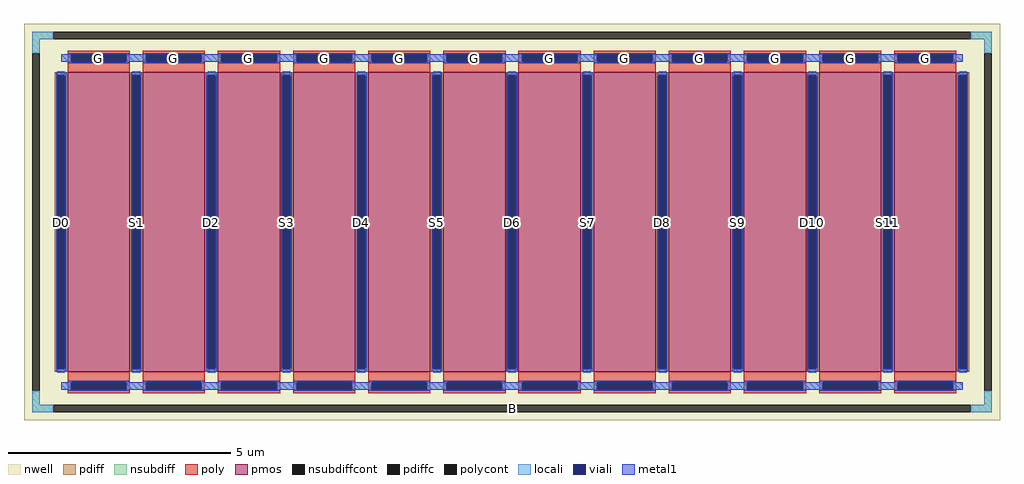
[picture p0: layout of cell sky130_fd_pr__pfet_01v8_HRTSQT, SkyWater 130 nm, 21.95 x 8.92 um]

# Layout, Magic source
magic
tech sky130A
magscale 1 2
<< nwell >>
rect -2195 -892 2195 892
<< pmos >>
rect -1999 -673 -1719 673
rect -1661 -673 -1381 673
rect -1323 -673 -1043 673
rect -985 -673 -705 673
rect -647 -673 -367 673
rect -309 -673 -29 673
rect 29 -673 309 673
rect 367 -673 647 673
rect 705 -673 985 673
rect 1043 -673 1323 673
rect 1381 -673 1661 673
rect 1719 -673 1999 673
<< pdiff >>
rect -2057 661 -1999 673
rect -2057 -661 -2045 661
rect -2011 -661 -1999 661
rect -2057 -673 -1999 -661
rect -1719 661 -1661 673
rect -1719 -661 -1707 661
rect -1673 -661 -1661 661
rect -1719 -673 -1661 -661
rect -1381 661 -1323 673
rect -1381 -661 -1369 661
rect -1335 -661 -1323 661
rect -1381 -673 -1323 -661
rect -1043 661 -985 673
rect -1043 -661 -1031 661
rect -997 -661 -985 661
rect -1043 -673 -985 -661
rect -705 661 -647 673
rect -705 -661 -693 661
rect -659 -661 -647 661
rect -705 -673 -647 -661
rect -367 661 -309 673
rect -367 -661 -355 661
rect -321 -661 -309 661
rect -367 -673 -309 -661
rect -29 661 29 673
rect -29 -661 -17 661
rect 17 -661 29 661
rect -29 -673 29 -661
rect 309 661 367 673
rect 309 -661 321 661
rect 355 -661 367 661
rect 309 -673 367 -661
rect 647 661 705 673
rect 647 -661 659 661
rect 693 -661 705 661
rect 647 -673 705 -661
rect 985 661 1043 673
rect 985 -661 997 661
rect 1031 -661 1043 661
rect 985 -673 1043 -661
rect 1323 661 1381 673
rect 1323 -661 1335 661
rect 1369 -661 1381 661
rect 1323 -673 1381 -661
rect 1661 661 1719 673
rect 1661 -661 1673 661
rect 1707 -661 1719 661
rect 1661 -673 1719 -661
rect 1999 661 2057 673
rect 1999 -661 2011 661
rect 2045 -661 2057 661
rect 1999 -673 2057 -661
<< pdiffc >>
rect -2045 -661 -2011 661
rect -1707 -661 -1673 661
rect -1369 -661 -1335 661
rect -1031 -661 -997 661
rect -693 -661 -659 661
rect -355 -661 -321 661
rect -17 -661 17 661
rect 321 -661 355 661
rect 659 -661 693 661
rect 997 -661 1031 661
rect 1335 -661 1369 661
rect 1673 -661 1707 661
rect 2011 -661 2045 661
<< nsubdiff >>
rect -2159 822 -2063 856
rect 2063 822 2159 856
rect -2159 760 -2125 822
rect 2125 760 2159 822
rect -2159 -822 -2125 -760
rect 2125 -822 2159 -760
rect -2159 -856 -2063 -822
rect 2063 -856 2159 -822
<< nsubdiffcont >>
rect -2063 822 2063 856
rect -2159 -760 -2125 760
rect 2125 -760 2159 760
rect -2063 -856 2063 -822
<< poly >>
rect -1999 754 -1719 770
rect -1999 720 -1983 754
rect -1735 720 -1719 754
rect -1999 673 -1719 720
rect -1661 754 -1381 770
rect -1661 720 -1645 754
rect -1397 720 -1381 754
rect -1661 673 -1381 720
rect -1323 754 -1043 770
rect -1323 720 -1307 754
rect -1059 720 -1043 754
rect -1323 673 -1043 720
rect -985 754 -705 770
rect -985 720 -969 754
rect -721 720 -705 754
rect -985 673 -705 720
rect -647 754 -367 770
rect -647 720 -631 754
rect -383 720 -367 754
rect -647 673 -367 720
rect -309 754 -29 770
rect -309 720 -293 754
rect -45 720 -29 754
rect -309 673 -29 720
rect 29 754 309 770
rect 29 720 45 754
rect 293 720 309 754
rect 29 673 309 720
rect 367 754 647 770
rect 367 720 383 754
rect 631 720 647 754
rect 367 673 647 720
rect 705 754 985 770
rect 705 720 721 754
rect 969 720 985 754
rect 705 673 985 720
rect 1043 754 1323 770
rect 1043 720 1059 754
rect 1307 720 1323 754
rect 1043 673 1323 720
rect 1381 754 1661 770
rect 1381 720 1397 754
rect 1645 720 1661 754
rect 1381 673 1661 720
rect 1719 754 1999 770
rect 1719 720 1735 754
rect 1983 720 1999 754
rect 1719 673 1999 720
rect -1999 -720 -1719 -673
rect -1999 -754 -1983 -720
rect -1735 -754 -1719 -720
rect -1999 -770 -1719 -754
rect -1661 -720 -1381 -673
rect -1661 -754 -1645 -720
rect -1397 -754 -1381 -720
rect -1661 -770 -1381 -754
rect -1323 -720 -1043 -673
rect -1323 -754 -1307 -720
rect -1059 -754 -1043 -720
rect -1323 -770 -1043 -754
rect -985 -720 -705 -673
rect -985 -754 -969 -720
rect -721 -754 -705 -720
rect -985 -770 -705 -754
rect -647 -720 -367 -673
rect -647 -754 -631 -720
rect -383 -754 -367 -720
rect -647 -770 -367 -754
rect -309 -720 -29 -673
rect -309 -754 -293 -720
rect -45 -754 -29 -720
rect -309 -770 -29 -754
rect 29 -720 309 -673
rect 29 -754 45 -720
rect 293 -754 309 -720
rect 29 -770 309 -754
rect 367 -720 647 -673
rect 367 -754 383 -720
rect 631 -754 647 -720
rect 367 -770 647 -754
rect 705 -720 985 -673
rect 705 -754 721 -720
rect 969 -754 985 -720
rect 705 -770 985 -754
rect 1043 -720 1323 -673
rect 1043 -754 1059 -720
rect 1307 -754 1323 -720
rect 1043 -770 1323 -754
rect 1381 -720 1661 -673
rect 1381 -754 1397 -720
rect 1645 -754 1661 -720
rect 1381 -770 1661 -754
rect 1719 -720 1999 -673
rect 1719 -754 1735 -720
rect 1983 -754 1999 -720
rect 1719 -770 1999 -754
<< polycont >>
rect -1983 720 -1735 754
rect -1645 720 -1397 754
rect -1307 720 -1059 754
rect -969 720 -721 754
rect -631 720 -383 754
rect -293 720 -45 754
rect 45 720 293 754
rect 383 720 631 754
rect 721 720 969 754
rect 1059 720 1307 754
rect 1397 720 1645 754
rect 1735 720 1983 754
rect -1983 -754 -1735 -720
rect -1645 -754 -1397 -720
rect -1307 -754 -1059 -720
rect -969 -754 -721 -720
rect -631 -754 -383 -720
rect -293 -754 -45 -720
rect 45 -754 293 -720
rect 383 -754 631 -720
rect 721 -754 969 -720
rect 1059 -754 1307 -720
rect 1397 -754 1645 -720
rect 1735 -754 1983 -720
<< locali >>
rect -2159 822 -2063 856
rect 2063 822 2159 856
rect -2159 760 -2125 822
rect 2125 760 2159 822
rect -2028 720 -1983 754
rect -1735 720 -1645 754
rect -1397 720 -1307 754
rect -1059 720 -969 754
rect -721 720 -631 754
rect -383 720 -293 754
rect -45 720 45 754
rect 293 720 383 754
rect 631 720 721 754
rect 969 720 1059 754
rect 1307 720 1397 754
rect 1645 720 1735 754
rect 1983 720 2028 754
rect -2045 661 -2011 677
rect -2045 -677 -2011 -661
rect -1707 661 -1673 677
rect -1707 -677 -1673 -661
rect -1369 661 -1335 677
rect -1369 -677 -1335 -661
rect -1031 661 -997 677
rect -1031 -677 -997 -661
rect -693 661 -659 677
rect -693 -677 -659 -661
rect -355 661 -321 677
rect -355 -677 -321 -661
rect -17 661 17 677
rect -17 -677 17 -661
rect 321 661 355 677
rect 321 -677 355 -661
rect 659 661 693 677
rect 659 -677 693 -661
rect 997 661 1031 677
rect 997 -677 1031 -661
rect 1335 661 1369 677
rect 1335 -677 1369 -661
rect 1673 661 1707 677
rect 1673 -677 1707 -661
rect 2011 661 2045 677
rect 2011 -677 2045 -661
rect -2028 -754 -1983 -720
rect -1735 -754 -1645 -720
rect -1397 -754 -1307 -720
rect -1059 -754 -969 -720
rect -721 -754 -631 -720
rect -383 -754 -293 -720
rect -45 -754 45 -720
rect 293 -754 383 -720
rect 631 -754 721 -720
rect 969 -754 1059 -720
rect 1307 -754 1397 -720
rect 1645 -754 1735 -720
rect 1983 -754 2028 -720
rect -2159 -822 -2125 -760
rect 2125 -822 2159 -760
rect -2159 -856 -2063 -822
rect 2063 -856 2159 -822
<< viali >>
rect -1983 720 -1735 754
rect -1645 720 -1397 754
rect -1307 720 -1059 754
rect -969 720 -721 754
rect -631 720 -383 754
rect -293 720 -45 754
rect 45 720 293 754
rect 383 720 631 754
rect 721 720 969 754
rect 1059 720 1307 754
rect 1397 720 1645 754
rect 1735 720 1983 754
rect -2045 -661 -2011 661
rect -1707 -661 -1673 661
rect -1369 -661 -1335 661
rect -1031 -661 -997 661
rect -693 -661 -659 661
rect -355 -661 -321 661
rect -17 -661 17 661
rect 321 -661 355 661
rect 659 -661 693 661
rect 997 -661 1031 661
rect 1335 -661 1369 661
rect 1673 -661 1707 661
rect 2011 -661 2045 661
rect -1983 -754 -1735 -720
rect -1645 -754 -1397 -720
rect -1307 -754 -1059 -720
rect -969 -754 -721 -720
rect -631 -754 -383 -720
rect -293 -754 -45 -720
rect 45 -754 293 -720
rect 383 -754 631 -720
rect 721 -754 969 -720
rect 1059 -754 1307 -720
rect 1397 -754 1645 -720
rect 1735 -754 1983 -720
<< metal1 >>
rect -1995 754 -1723 760
rect -1657 754 -1385 760
rect -1319 754 -1047 760
rect -981 754 -709 760
rect -643 754 -371 760
rect -305 754 -33 760
rect 33 754 305 760
rect 371 754 643 760
rect 709 754 981 760
rect 1047 754 1319 760
rect 1385 754 1657 760
rect 1723 754 1995 760
rect -2028 720 -1983 754
rect -1735 720 -1645 754
rect -1397 720 -1307 754
rect -1059 720 -969 754
rect -721 720 -631 754
rect -383 720 -293 754
rect -45 720 45 754
rect 293 720 383 754
rect 631 720 721 754
rect 969 720 1059 754
rect 1307 720 1397 754
rect 1645 720 1735 754
rect 1983 720 2028 754
rect -1995 714 -1723 720
rect -1657 714 -1385 720
rect -1319 714 -1047 720
rect -981 714 -709 720
rect -643 714 -371 720
rect -305 714 -33 720
rect 33 714 305 720
rect 371 714 643 720
rect 709 714 981 720
rect 1047 714 1319 720
rect 1385 714 1657 720
rect 1723 714 1995 720
rect -2051 661 -2005 673
rect -2051 -661 -2045 661
rect -2011 -661 -2005 661
rect -2051 -673 -2005 -661
rect -1713 661 -1667 673
rect -1713 -661 -1707 661
rect -1673 -661 -1667 661
rect -1713 -673 -1667 -661
rect -1375 661 -1329 673
rect -1375 -661 -1369 661
rect -1335 -661 -1329 661
rect -1375 -673 -1329 -661
rect -1037 661 -991 673
rect -1037 -661 -1031 661
rect -997 -661 -991 661
rect -1037 -673 -991 -661
rect -699 661 -653 673
rect -699 -661 -693 661
rect -659 -661 -653 661
rect -699 -673 -653 -661
rect -361 661 -315 673
rect -361 -661 -355 661
rect -321 -661 -315 661
rect -361 -673 -315 -661
rect -23 661 23 673
rect -23 -661 -17 661
rect 17 -661 23 661
rect -23 -673 23 -661
rect 315 661 361 673
rect 315 -661 321 661
rect 355 -661 361 661
rect 315 -673 361 -661
rect 653 661 699 673
rect 653 -661 659 661
rect 693 -661 699 661
rect 653 -673 699 -661
rect 991 661 1037 673
rect 991 -661 997 661
rect 1031 -661 1037 661
rect 991 -673 1037 -661
rect 1329 661 1375 673
rect 1329 -661 1335 661
rect 1369 -661 1375 661
rect 1329 -673 1375 -661
rect 1667 661 1713 673
rect 1667 -661 1673 661
rect 1707 -661 1713 661
rect 1667 -673 1713 -661
rect 2005 661 2051 673
rect 2005 -661 2011 661
rect 2045 -661 2051 661
rect 2005 -673 2051 -661
rect -1995 -720 -1723 -714
rect -1657 -720 -1385 -714
rect -1319 -720 -1047 -714
rect -981 -720 -709 -714
rect -643 -720 -371 -714
rect -305 -720 -33 -714
rect 33 -720 305 -714
rect 371 -720 643 -714
rect 709 -720 981 -714
rect 1047 -720 1319 -714
rect 1385 -720 1657 -714
rect 1723 -720 1995 -714
rect -2028 -754 -1983 -720
rect -1735 -754 -1645 -720
rect -1397 -754 -1307 -720
rect -1059 -754 -969 -720
rect -721 -754 -631 -720
rect -383 -754 -293 -720
rect -45 -754 45 -720
rect 293 -754 383 -720
rect 631 -754 721 -720
rect 969 -754 1059 -720
rect 1307 -754 1397 -720
rect 1645 -754 1735 -720
rect 1983 -754 2028 -720
rect -1995 -760 -1723 -754
rect -1657 -760 -1385 -754
rect -1319 -760 -1047 -754
rect -981 -760 -709 -754
rect -643 -760 -371 -754
rect -305 -760 -33 -754
rect 33 -760 305 -754
rect 371 -760 643 -754
rect 709 -760 981 -754
rect 1047 -760 1319 -754
rect 1385 -760 1657 -754
rect 1723 -760 1995 -754
<< labels >>
rlabel nsubdiffcont 0 -839 0 -839 0 B
port 1 nsew
rlabel pdiffc -2028 0 -2028 0 0 D0
port 2 nsew
rlabel polycont -1859 737 -1859 737 0 G
port 3 nsew
rlabel pdiffc -1690 0 -1690 0 0 S1
port 4 nsew
rlabel polycont -1521 737 -1521 737 0 G
port 3 nsew
rlabel pdiffc -1352 0 -1352 0 0 D2
port 5 nsew
rlabel polycont -1183 737 -1183 737 0 G
port 3 nsew
rlabel pdiffc -1014 0 -1014 0 0 S3
port 6 nsew
rlabel polycont -845 737 -845 737 0 G
port 3 nsew
rlabel pdiffc -676 0 -676 0 0 D4
port 7 nsew
rlabel polycont -507 737 -507 737 0 G
port 3 nsew
rlabel pdiffc -338 0 -338 0 0 S5
port 8 nsew
rlabel polycont -169 737 -169 737 0 G
port 3 nsew
rlabel pdiffc 0 0 0 0 0 D6
port 9 nsew
rlabel polycont 169 737 169 737 0 G
port 3 nsew
rlabel pdiffc 338 0 338 0 0 S7
port 10 nsew
rlabel polycont 507 737 507 737 0 G
port 3 nsew
rlabel pdiffc 676 0 676 0 0 D8
port 11 nsew
rlabel polycont 845 737 845 737 0 G
port 3 nsew
rlabel pdiffc 1014 0 1014 0 0 S9
port 12 nsew
rlabel polycont 1183 737 1183 737 0 G
port 3 nsew
rlabel pdiffc 1352 0 1352 0 0 D10
port 13 nsew
rlabel polycont 1521 737 1521 737 0 G
port 3 nsew
rlabel pdiffc 1690 0 1690 0 0 S11
port 14 nsew
rlabel polycont 1859 737 1859 737 0 G
port 3 nsew
<< properties >>
string FIXED_BBOX -2142 -839 2142 839
string gencell sky130_fd_pr__pfet_01v8
string library sky130
string parameters w 6.73 l 1.4 m 1 nf 12 diffcov 100 polycov 100 guard 1 glc 1 grc 1 gtc 1 gbc 1 tbcov 100 rlcov 100 topc 1 botc 1 poverlap 0 doverlap 1 lmin 0.15 wmin 0.42 class mosfet compatible {sky130_fd_pr__pfet_01v8  sky130_fd_pr__pfet_01v8_lvt sky130_fd_pr__pfet_01v8_hvt  sky130_fd_pr__pfet_g5v0d10v5} full_metal 1 conn_gates 1 viasrc 100 viadrn 100 viagate 100 viagb 0 viagr 0 viagl 0 viagt 0 doports 1
<< end >>
